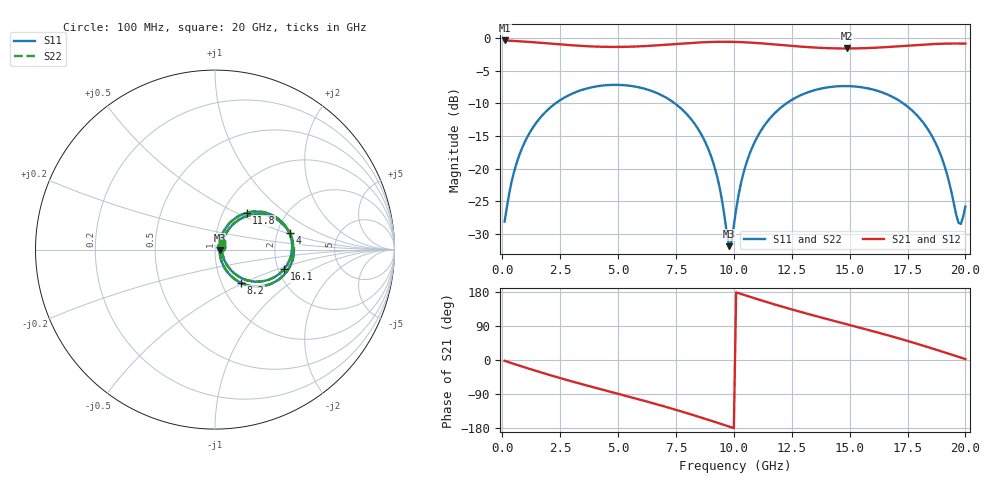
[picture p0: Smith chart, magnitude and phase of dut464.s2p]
! Touchstone file exported from HFSS 2026.1.0
!  File:  C:/ffzhzh/LocalFiles/Ansys_Project_Files/temp_train_TSV_RDL_464_1783101881_37876.aedt
!  Generated:  02:21:55 AM Jul  4, 2026
!  Design:  TSV_RDL
!  Project:  temp_train_TSV_RDL_464_1783101881_37876
! Variables:
!  h_bsmrdl = 2.17um
!  h_ox = 20um
!  h_rdl = 5um
!  h_sub = 87.34um
!  h_tmrdl = 3.37um
!  h_tsv = 87.34um
!  h_via = 3um
!  l_bsmrdl = 929.99um
!  l_sub = 5992.01um
!  l_tmrdl = 668.23um
!  m_sub = 200um
!  pitch = 39.08um
!  r_tsv = 7.6um
!  s_tmrdl = 10um
!  w_bsmrdl = 22.9um
!  w_sub = 500um
!  w_tmrdl = 20.14um
!  x_tsv_center1 = 678.3um
!  x_tsv_center2 = 1631.19um
!  x_tsv_center3 = 2319.56um
!  x_tsv_center4 = 3272.45um
!  x_tsv_center5 = 3960.82um
!  x_tsv_center6 = 4913.71um
# GHz S MA R 50.000000
! Terminal data exported
! Port[1] = TM_RDL1_1_T1
! Port[2] = TM_RDL5_1_T1
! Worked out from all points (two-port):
!   200 points, 100 MHz to 20 GHz, reference 50 ohm
!   highest |S21| = -0.31 dB at 100 MHz (marker M1); lowest = -1.5 dB at 14.9 GHz (marker M2)
!   |S21| within 3 dB of the highest: start of sweep to end of sweep
!   lowest |S11| = -31.9 dB at 9.8 GHz (marker M3), VSWR 1.05, Z = 52.6 - j0.342 ohm
!   |S11| at or under -10 dB: start of sweep to 2.291 GHz; 7.457 GHz to 12.26 GHz (4.807 GHz wide, 48.7 % of centre); 17.32 GHz to end of sweep
!   |S22| runs from -32.0 to -7.1 dB; largest |S21 - S12| = 1.5e-14
!   S11 on the Smith chart (normalised r, x): 100 MHz: 1.07, +0.04; 4 GHz: 2.33, +0.54; 8.2 GHz: 1.23, -0.48; 11.8 GHz: 1.29, +0.57; 16.1 GHz: 2.16, -0.55; 20 GHz: 1.07, +0.08
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0.1  0.0391 25.7  0.9653 -2.1  0.9653 -2.1  0.0391 25.7
! Gamma 0 0 0 0
! Port Impedance 50 0 50 0
0.5  0.09318 54.6  0.9569 -10.3  0.9569 -10.3  0.09318 54.6
1.2  0.1905 53.1  0.9394 -23.9  0.9394 -23.9  0.1905 53.1
2.2  0.3073 39.9  0.9096 -42.4  0.9096 -42.4  0.3073 39.9
3.5  0.4052 20.3  0.8749 -64.8  0.8749 -64.8  0.4052 20.3
4  0.4258 12.8  0.8665 -73.0  0.8665 -73.0  0.4258 12.8
5.4  0.435 -8.3  0.8631 -95.7  0.8631 -95.7  0.435 -8.3
6.8  0.3719 -30.0  0.8881 -119.1  0.8881 -119.1  0.3719 -30.0
8.2  0.234 -52.1  0.9251 -144.4  0.9251 -144.4  0.234 -52.2
9.2  0.09791 -62.2  0.9417 -163.8  0.9417 -163.8  0.0979 -62.3
9.8  0.02528 -7.4  0.9426 -175.7  0.9426 -175.7  0.02508 -7.5
10.1  0.04856 54.9  0.9401 178.4  0.9401 178.4  0.0484 55.1
10.7  0.1322 63.6  0.9299 166.6  0.9299 166.6  0.1321 63.7
11.8  0.27 49.3  0.8987 145.9  0.8987 145.9  0.2699 49.4
13.4  0.3962 24.6  0.8532 118.3  0.8532 118.3  0.3962 24.7
14.9  0.4303 2.3  0.8373 94.0  0.8373 94.0  0.4302 2.3
16.1  0.4006 -15.5  0.8486 74.5  0.8486 74.5  0.4006 -15.5
16.7  0.3663 -24.6  0.8608 64.4  0.8608 64.4  0.3662 -24.5
18.6  0.1719 -50.8  0.9058 29.8  0.9058 29.8  0.1719 -50.7
19.1  0.1047 -51.8  0.9124 20.1  0.9124 20.1  0.1048 -51.7
19.7  0.03829 -8.2  0.9144 8.4  0.9144 8.4  0.03845 -8.2
20  0.05098 43.9  0.9126 2.5  0.9126 2.5  0.05106 43.7
